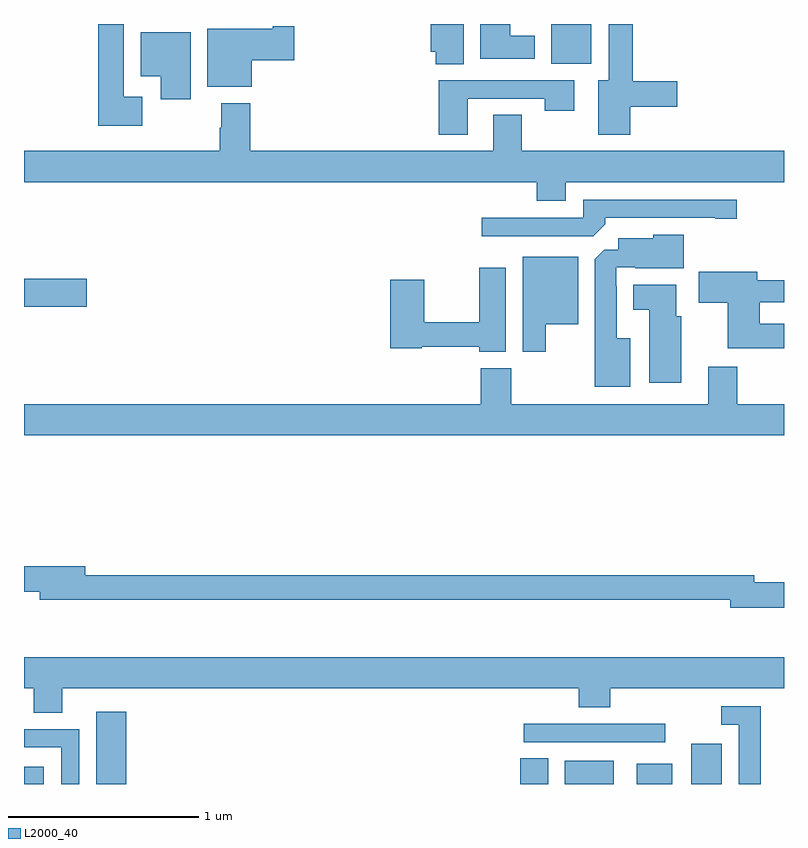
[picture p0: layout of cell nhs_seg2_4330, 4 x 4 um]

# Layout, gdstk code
import gdstk
lib = gdstk.Library(unit=1e-6, precision=1e-09)
def R(c, l, rs):  # rectangles x0, y0, x1, y1
    for r in rs: c.add(gdstk.rectangle(r[:2], r[2:], *l))
def P(c, l, *ps):  # polygons
    for p in ps: c.add(gdstk.Polygon(p, *l))
L2000_40 = (2000, 40)

nhs_seg2_4330 = lib.new_cell('nhs_seg2_4330')
R(nhs_seg2_4330, L2000_40, [(345,645.8,345.103,645.892), (345.38,645.8,345.539,646.18), (347.612,645.8,347.758,645.935), (347.846,645.8,348.103,645.922), (348.224,645.8,348.412,645.907), (348.512,645.8,348.673,646.012), (347.631,646.02,348.376,646.116), (345,648.311,345.331,648.458), (347.774,649.592,347.986,649.8)])
P(nhs_seg2_4330, L2000_40, [(345.622,649.417),(345.526,649.417),(345.526,649.8),(345.392,649.8),(345.392,649.265),(345.622,649.265)],
  [(347.314,649.8),(347.141,649.8),(347.141,649.655),(347.168,649.655),(347.168,649.588),(347.314,649.588)],
  [(347.689,649.738),(347.56,649.738),(347.56,649.8),(347.402,649.8),(347.402,649.616),(347.689,649.616)],
  [(348.19,649.364),(348.439,649.364),(348.439,649.499),(348.203,649.499),(348.203,649.8),(348.077,649.8),(348.077,649.504),(348.023,649.504),(348.023,649.218),(348.19,649.218)],
  [(346.198,649.609),(346.423,649.609),(346.423,649.787),(346.31,649.787),(346.31,649.774),(345.965,649.774),(345.965,649.469),(346.198,649.469)],
  [(345.877,649.756),(345.614,649.756),(345.614,649.526),(345.719,649.526),(345.719,649.404),(345.877,649.404)],
  [(347.335,649.407),(347.74,649.407),(347.74,649.344),(347.896,649.344),(347.896,649.503),(347.183,649.503),(347.183,649.218),(347.335,649.218)],
  [(347.851,648.968),(349,648.968),(349,649.132),(347.619,649.132),(347.619,649.322),(347.471,649.322),(347.471,649.132),(346.19,649.132),(346.19,649.384),(346.037,649.384),(346.037,649.253),(346.03,649.253),(346.03,649.132),(345,649.132),(345,648.968),(347.699,648.968),(347.699,648.869),(347.851,648.869)],
  [(348.059,648.746),(348.059,648.78),(348.638,648.78),(348.638,648.775),(348.751,648.775),(348.751,648.876),(347.943,648.876),(347.943,648.78),(347.409,648.78),(347.409,648.684),(347.997,648.684)],
  [(348.19,648.145),(348.121,648.145),(348.121,648.419),(348.117,648.419),(348.117,648.519),(348.217,648.519),(348.217,648.515),(348.472,648.515),(348.472,648.691),(348.312,648.691),(348.312,648.673),(348.128,648.673),(348.128,648.612),(348.054,648.612),(348.005,648.563),(348.005,647.891),(348.19,647.891)],
  [(347.746,648.221),(347.917,648.221),(347.917,648.574),(347.624,648.574),(347.624,648.075),(347.746,648.075)],
  [(347.536,648.517),(347.395,648.517),(347.395,648.23),(347.106,648.23),(347.106,648.454),(346.928,648.454),(346.928,648.094),(347.094,648.094),(347.094,648.102),(347.395,648.102),(347.395,648.074),(347.536,648.074)],
  [(349,648.223),(348.872,648.223),(348.872,648.336),(349,648.336),(349,648.452),(348.859,648.452),(348.859,648.496),(348.552,648.496),(348.552,648.334),(348.704,648.334),(348.704,648.094),(349,648.094)],
  [(348.46,648.261),(348.433,648.261),(348.433,648.427),(348.206,648.427),(348.206,648.296),(348.29,648.296),(348.29,647.913),(348.46,647.913)],
  [(349,647.8),(348.755,647.8),(348.755,647.995),(348.602,647.995),(348.602,647.8),(347.565,647.8),(347.565,647.989),(347.405,647.989),(347.405,647.8),(345,647.8),(345,647.636),(349,647.636)],
  [(349,646.862),(348.844,646.862),(348.844,646.898),(345.322,646.898),(345.322,646.946),(345,646.946),(345,646.811),(345.083,646.811),(345.083,646.77),(348.716,646.77),(348.716,646.727),(349,646.727)],
  [(345.202,646.304),(347.921,646.304),(347.921,646.205),(348.086,646.205),(348.086,646.304),(349,646.304),(349,646.468),(345,646.468),(345,646.304),(345.05,646.304),(345.05,646.174),(345.202,646.174)],
  [(348.878,646.209),(348.669,646.209),(348.669,646.113),(348.762,646.113),(348.762,645.8),(348.878,645.8)],
  [(345.291,646.089),(345,646.089),(345,645.993),(345.195,645.993),(345.195,645.8),(345.291,645.8)])

lib.write_gds('nhs_seg2_4330.gds')
